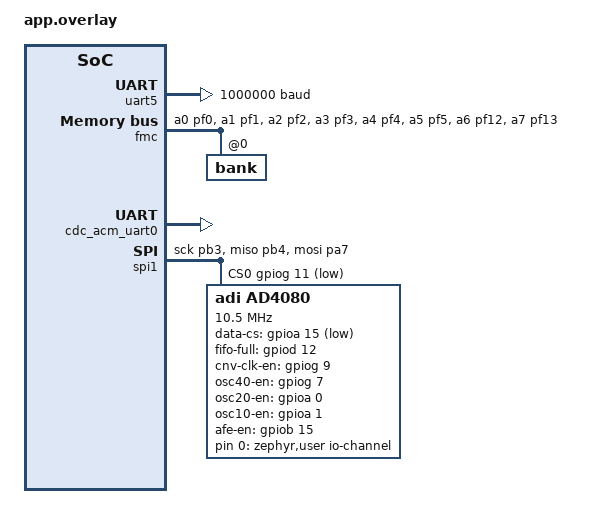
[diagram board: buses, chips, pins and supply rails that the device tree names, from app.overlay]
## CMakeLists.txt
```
cmake_minimum_required(VERSION 3.20.0)

list(APPEND ZEPHYR_EXTRA_MODULES ${CMAKE_CURRENT_LIST_DIR}/drivers/ad4080)

# Captured here: the macro runs later, from Zephyr's cmake directory.
set(AD4080_OPENOCD_RESUME ${CMAKE_CURRENT_LIST_DIR}/support/openocd-resume.tcl)

# The board OpenOCD file is the Nucleo one. Connect under reset so a core
# in WFI can be halted, keep the hex erase-program path, and turn the
# trailing "reset run" into resume. That "reset run" drops SWD on this
# ST-Link after the image is already written.
macro(app_set_runner_args)
  board_runner_args(openocd "--cmd-pre-init" "reset_config srst_only srst_nogate connect_assert_srst")
  # "reset" exists only after init.
  board_runner_args(openocd "--cmd-pre-load" "source ${AD4080_OPENOCD_RESUME}")
endmacro()

find_package(Zephyr REQUIRED HINTS $ENV{ZEPHYR_BASE})
project(ad4080_example)

target_sources(app PRIVATE src/main.c src/usbd.c)
```

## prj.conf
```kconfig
CONFIG_GPIO=y
CONFIG_SPI=y
CONFIG_SPI_STM32_DMA=y
CONFIG_DMA_LOG_LEVEL_ERR=y
CONFIG_ADC=y

CONFIG_SERIAL=y
CONFIG_CONSOLE=y
CONFIG_UART_CONSOLE=y
CONFIG_PRINTK=y

CONFIG_LOG=y
CONFIG_LOG_MODE_IMMEDIATE=y
CONFIG_ADC_LOG_LEVEL_INF=y

# Idle is WFI. Without this, STM32F4 drops the debug clock in sleep and
# OpenOCD cannot halt the core for the next flash.
CONFIG_STM32_ENABLE_DEBUG_SLEEP_STOP=y

CONFIG_MEMC=y
CONFIG_MEMC_LOG_LEVEL_ERR=y

CONFIG_USB_DEVICE_STACK_NEXT=y
CONFIG_UART_LINE_CTRL=y
CONFIG_USBD_LOG_LEVEL_ERR=y
CONFIG_UDC_DRIVER_LOG_LEVEL_ERR=y
CONFIG_USBD_CDC_ACM_LOG_LEVEL_ERR=y
```

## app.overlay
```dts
/*
 * EVAL-AD4080ARDZ on the SDP-K1 Arduino header.
 *
 * D13/D12/D11 are SPI1 SCK/MISO/MOSI. D8 is the configuration chip-select
 * and D10 is the data-interface chip-select. D0 selects the 10 MHz CNV
 * oscillator; D2 and D1 stay off. D4 enables the conversion clock, D3 is
 * GPIO3 (FIFO full), and D9 enables the analog front end.
 */

#include <zephyr/dt-bindings/adc/adc.h>
#include <zephyr/dt-bindings/dma/stm32_dma.h>
#include <zephyr/dt-bindings/memory-attr/memory-attr-arm.h>
#include <zephyr/dt-bindings/memory-controller/stm32-fmc-sdram.h>

/* UART5 is the DAPLink virtual COM port, used for the boot log only.
 * Samples leave through the USB CDC device. The controller asks for
 * high speed; this board enumerates at full speed.
 */
&uart5 {
	current-speed = <1000000>;
};

/*
 * MT48LC4M32B2, 16 MB, 32-bit, 8-bit column, 12-bit row, 4 banks.
 * SDCLK is HCLK/2 = 84 MHz. CAS latency 3 matches the Analog SDP-K1
 * init. PD12 stays GPIO (FIFO full); it is not driven as FMC_A17.
 * These pins do not overlap the AD4080 SPI, CNV, or ULPI sets.
 */
&fmc {
	pinctrl-0 = <&fmc_a0_pf0 &fmc_a1_pf1 &fmc_a2_pf2 &fmc_a3_pf3
		     &fmc_a4_pf4 &fmc_a5_pf5 &fmc_a6_pf12 &fmc_a7_pf13
		     &fmc_a8_pf14 &fmc_a9_pf15 &fmc_a10_pg0 &fmc_a11_pg1
		     &fmc_a12_pg2 &fmc_a13_pg3 &fmc_a14_pg4 &fmc_a15_pg5
		     &fmc_d0_pd14 &fmc_d1_pd15 &fmc_d2_pd0 &fmc_d3_pd1
		     &fmc_d4_pe7 &fmc_d5_pe8 &fmc_d6_pe9 &fmc_d7_pe10
		     &fmc_d8_pe11 &fmc_d9_pe12 &fmc_d10_pe13 &fmc_d11_pe14
		     &fmc_d12_pe15 &fmc_d13_pd8 &fmc_d14_pd9 &fmc_d15_pd10
		     &fmc_d16_ph8 &fmc_d17_ph9 &fmc_d18_ph10 &fmc_d19_ph11
		     &fmc_d20_ph12 &fmc_d21_ph13 &fmc_d22_ph14 &fmc_d23_ph15
		     &fmc_d24_pi0 &fmc_d25_pi1 &fmc_d26_pi2 &fmc_d27_pi3
		     &fmc_d28_pi6 &fmc_d29_pi7 &fmc_d30_pi9 &fmc_d31_pi10
		     &fmc_nbl0_pe0 &fmc_nbl1_pe1 &fmc_nbl2_pi4 &fmc_nbl3_pi5
		     &fmc_sdclk_pg8 &fmc_sdncas_pg15 &fmc_sdnras_pf11
		     &fmc_sdcke0_ph2 &fmc_sdne0_ph3 &fmc_sdnwe_ph5>;
	pinctrl-names = "default";
	status = "okay";

	sdram {
		status = "okay";
		/* 64 ms / 4096 rows * 84 MHz - 20. */
		power-up-delay = <100>;
		num-auto-refresh = <8>;
		mode-register = <0x230>;
		refresh-rate = <1292>;

		bank@0 {
			reg = <0>;
			st,sdram-control = <STM32_FMC_SDRAM_NC_8
					    STM32_FMC_SDRAM_NR_12
					    STM32_FMC_SDRAM_MWID_32
					    STM32_FMC_SDRAM_NB_4
					    STM32_FMC_SDRAM_CAS_3
					    STM32_FMC_SDRAM_SDCLK_PERIOD_2
					    STM32_FMC_SDRAM_RBURST_ENABLE
					    STM32_FMC_SDRAM_RPIPE_0>;
			st,sdram-timing = <2 7 4 7 2 2 2>;
		};
	};
};

/ {
	sdram1: sdram@c0000000 {
		compatible = "zephyr,memory-region", "mmio-sram";
		device_type = "memory";
		reg = <0xc0000000 DT_SIZE_M(16)>;
		zephyr,memory-region = "SDRAM1";
		zephyr,memory-attr = <DT_MEM_ARM_MPU_RAM>;
	};
};

&zephyr_udc0 {
	cdc_acm_uart0: cdc_acm_uart0 {
		compatible = "zephyr,cdc-acm-uart";
		label = "AD4080 capture";
		tx-fifo-size = <16384>;
		rx-fifo-size = <512>;
	};
};

/ {
	zephyr,user {
		io-channels = <&ad4080 0>;
	};
};

/* SPI1_TX is DMA2 stream 5 channel 3. SPI1_RX is stream 2 channel 3. */
&dma2 {
	status = "okay";
};

&spi1 {
	pinctrl-0 = <&spi1_sck_pb3 &spi1_miso_pb4 &spi1_mosi_pa7>;
	pinctrl-names = "default";
	dmas = <&dma2 5 3 STM32_DMA_PERIPH_TX STM32_DMA_FIFO_FULL>,
	       <&dma2 2 3 STM32_DMA_PERIPH_RX STM32_DMA_FIFO_FULL>;
	dma-names = "tx", "rx";
	cs-gpios = <&gpiog 11 GPIO_ACTIVE_LOW>;
	status = "okay";

	ad4080: ad4080@0 {
		compatible = "adi,ad4080";
		reg = <0>;
		/*
		 * Register port, APB2/8. The data port uses the same 10.5 MHz.
		 * 21 MHz and 42 MHz both sampled the data-port sign bit early.
		 */
		spi-max-frequency = <10500000>;
		spi-cpol;
		spi-cpha;

		data-cs-gpios = <&gpioa 15 GPIO_ACTIVE_LOW>;
		fifo-full-gpios = <&gpiod 12 GPIO_ACTIVE_HIGH>;
		cnv-clk-en-gpios = <&gpiog 9 GPIO_ACTIVE_HIGH>;
		osc40-en-gpios = <&gpiog 7 GPIO_ACTIVE_HIGH>;
		osc20-en-gpios = <&gpioa 0 GPIO_ACTIVE_HIGH>;
		osc10-en-gpios = <&gpioa 1 GPIO_ACTIVE_HIGH>;
		afe-en-gpios = <&gpiob 15 GPIO_ACTIVE_HIGH>;
		sampling-frequency-mhz = <10>;

		#io-channel-cells = <1>;
		#address-cells = <1>;
		#size-cells = <0>;

		channel@0 {
			reg = <0>;
			zephyr,gain = "ADC_GAIN_1";
			zephyr,reference = "ADC_REF_EXTERNAL0";
			zephyr,vref-mv = <3000>;
			zephyr,acquisition-time = <ADC_ACQ_TIME_DEFAULT>;
			zephyr,resolution = <20>;
			zephyr,differential;
		};
	};
};
```

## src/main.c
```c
/*
 * Copyright (c) 2026
 * SPDX-License-Identifier: Apache-2.0
 *
 * Fill the 16 MB SDRAM with AD4080 FIFO bursts, then send that buffer
 * on the USB CDC port. The converter has one 16384-sample FIFO and it
 * is single-port, so the CNV clock stops while SPI DMA clocks that
 * FIFO out. Samples inside one FIFO are gap-free at the CNV rate.
 * The link is mode 3 at 10.5 MHz. The USB controller asks for high
 * speed; this board enumerates at full speed.
 *
 * Request:  0xA5 0x5A, uint32 little-endian count
 *           count 0 asks for limits instead of samples
 * Response: 0x5A 0xA5, uint32 count, int16 status, then the payload
 *           samples are count signed 24-bit little-endian codes
 *           a count-0 reply carries three int32 values:
 *           FIFO depth, samples that fit in SDRAM, sample rate
 */

#include <errno.h>
#include <stdint.h>

#include <zephyr/device.h>
#include <zephyr/drivers/adc.h>
#include <zephyr/drivers/uart.h>
#include <zephyr/kernel.h>
#include <zephyr/sys/atomic.h>
#include <zephyr/sys/printk.h>

#define FIFO_SAMPLES 16384
#define SAMPLE_HZ (DT_PROP(DT_NODELABEL(ad4080), sampling_frequency_mhz) * 1000000)
#define SDRAM_ADDR DT_REG_ADDR(DT_NODELABEL(sdram1))
#define SDRAM_BYTES DT_REG_SIZE(DT_NODELABEL(sdram1))
#define RAM_SAMPLES (SDRAM_BYTES / 3)

#define RX_RING 128

const struct device *usb_serial_start(void);

static const struct device *usb;
static const struct adc_dt_spec adc_channel = ADC_DT_SPEC_GET(DT_PATH(zephyr_user));
static int32_t samples[FIFO_SAMPLES];

static struct adc_sequence_options options;
static struct adc_sequence sequence = {
	.buffer = samples,
	.options = &options,
};

static uint8_t rx_ring[RX_RING];
static unsigned int rx_w;
static unsigned int rx_r;

static const uint8_t *tx_data;
static size_t tx_len;
static size_t tx_off;
static atomic_t tx_active;
static K_SEM_DEFINE(tx_done, 0, 1);

static void rx_put(const uint8_t *data, int len)
{
	unsigned int key = irq_lock();

	for (int i = 0; i < len; i++) {
		unsigned int next = (rx_w + 1U) % RX_RING;

		if (next == rx_r) {
			break;
		}
		rx_ring[rx_w] = data[i];
		rx_w = next;
	}
	irq_unlock(key);
}

static int rx_get(uint8_t *byte)
{
	unsigned int key = irq_lock();

	if (rx_r == rx_w) {
		irq_unlock(key);
		return -1;
	}
	*byte = rx_ring[rx_r];
	rx_r = (rx_r + 1U) % RX_RING;
	irq_unlock(key);
	return 0;
}

static void usb_uart_cb(const struct device *dev, void *user_data)
{
	uint8_t tmp[64];

	ARG_UNUSED(user_data);
	uart_irq_update(dev);

	while (uart_irq_rx_ready(dev) > 0) {
		int n = uart_fifo_read(dev, tmp, sizeof(tmp));

		if (n <= 0) {
			break;
		}
		rx_put(tmp, n);
	}

	if (!atomic_get(&tx_active)) {
		return;
	}

	while (uart_irq_tx_ready(dev) > 0) {
		size_t left = tx_len - tx_off;
		int n;

		if (left == 0) {
			uart_irq_tx_disable(dev);
			if (atomic_cas(&tx_active, 1, 0)) {
				k_sem_give(&tx_done);
			}
			return;
		}

		n = uart_fifo_fill(dev, &tx_data[tx_off], left);
		if (n <= 0) {
			break;
		}
		tx_off += n;
	}
}

static bool host_is_open(void)
{
	uint32_t dtr = 0;

	if (uart_line_ctrl_get(usb, UART_LINE_CTRL_DTR, &dtr) != 0) {
		return true;
	}
	return dtr != 0;
}

static void stop_tx(void)
{
	if (atomic_cas(&tx_active, 1, 0)) {
		uart_irq_tx_disable(usb);
	}
}

static int send_bytes(const uint8_t *data, size_t len)
{
	int64_t deadline;

	if (len == 0) {
		return 0;
	}

	tx_data = data;
	tx_off = 0;
	tx_len = len;
	atomic_set(&tx_active, 1);
	k_sem_reset(&tx_done);
	uart_irq_tx_enable(usb);

	deadline = k_uptime_get() + 120000;
	while (k_sem_take(&tx_done, K_MSEC(100)) != 0) {
		if (!host_is_open()) {
			stop_tx();
			return -ECONNABORTED;
		}
		if (k_uptime_get() >= deadline) {
			stop_tx();
			return -ETIMEDOUT;
		}
	}
	return 0;
}

static int send_frame(uint32_t count, int16_t status, const uint8_t *payload, size_t payload_len)
{
	uint8_t hdr[8];
	int err;

	hdr[0] = 0x5a;
	hdr[1] = 0xa5;
	hdr[2] = count;
	hdr[3] = count >> 8;
	hdr[4] = count >> 16;
	hdr[5] = count >> 24;
	hdr[6] = (uint16_t)status;
	hdr[7] = (uint16_t)status >> 8;

	err = send_bytes(hdr, sizeof(hdr));
	if (err || payload == NULL || payload_len == 0) {
		return err;
	}
	return send_bytes(payload, payload_len);
}

static void put_i32(uint8_t *dst, int32_t value)
{
	dst[0] = value;
	dst[1] = value >> 8;
	dst[2] = value >> 16;
	dst[3] = value >> 24;
}

static int sdram_test(void)
{
	volatile uint32_t *mem = (volatile uint32_t *)SDRAM_ADDR;
	uint32_t words = SDRAM_BYTES / sizeof(uint32_t);
	uint32_t last = words - 1U;

	for (uint32_t i = 0; i < words; i += 1024U) {
		mem[i] = 0x40800000U ^ i;
	}
	mem[last] = 0x5a5a5a5aU;

	for (uint32_t i = 0; i < words; i += 1024U) {
		if (mem[i] != (0x40800000U ^ i)) {
			return -EIO;
		}
	}
	if (mem[last] != 0x5a5a5a5aU) {
		return -EIO;
	}
	return 0;
}

/* One adc_read() is one FIFO. Pack those int32 codes as 24-bit little-endian. */
static int capture_samples(uint32_t count)
{
	uint8_t *dst = (uint8_t *)SDRAM_ADDR;

	for (uint32_t done = 0; done < count;) {
		uint32_t n = count - done;
		int err;

		if (!host_is_open()) {
			return -ECONNABORTED;
		}
		if (n > FIFO_SAMPLES) {
			n = FIFO_SAMPLES;
		}

		options.interval_us = 0;
		options.extra_samplings = n - 1U;
		sequence.buffer_size = n * sizeof(samples[0]);

		err = adc_read_dt(&adc_channel, &sequence);
		if (err) {
			return err;
		}

		for (uint32_t i = 0; i < n; i++) {
			int32_t code = samples[i];

			*dst++ = code;
			*dst++ = code >> 8;
			*dst++ = code >> 16;
		}
		done += n;
	}

	return 0;
}

static int take_request(uint32_t *count)
{
	static uint8_t state;
	static uint32_t value;
	uint8_t byte;

	while (rx_get(&byte) == 0) {
		switch (state) {
		case 0:
			state = byte == 0xa5 ? 1 : 0;
			break;
		case 1:
			if (byte == 0x5a) {
				value = 0;
				state = 2;
			} else {
				state = byte == 0xa5 ? 1 : 0;
			}
			break;
		case 2:
		case 3:
		case 4:
			value |= (uint32_t)byte << ((state - 2) * 8);
			state++;
			break;
		case 5:
			*count = value | ((uint32_t)byte << 24);
			state = 0;
			return 1;
		default:
			state = 0;
			break;
		}
	}

	return 0;
}

static void handle_request(uint32_t count)
{
	uint8_t info[12];
	int err;

	if (count == 0) {
		put_i32(&info[0], FIFO_SAMPLES);
		put_i32(&info[4], RAM_SAMPLES);
		put_i32(&info[8], SAMPLE_HZ);
		send_frame(3, 0, info, sizeof(info));
		return;
	}

	if (count > RAM_SAMPLES) {
		send_frame(0, -EINVAL, NULL, 0);
		return;
	}

	err = capture_samples(count);
	if (err == -ECONNABORTED) {
		return;
	}
	if (err) {
		send_frame(0, (int16_t)err, NULL, 0);
		return;
	}

	send_frame(count, 0, (const uint8_t *)SDRAM_ADDR, count * 3U);
}

static int wait_for_host(void)
{
	uint32_t dtr = 0;

	printk("AD4080 USB waiting for the host\n");
	while (dtr == 0) {
		if (uart_line_ctrl_get(usb, UART_LINE_CTRL_DTR, &dtr) != 0) {
			return -ENOTSUP;
		}
		k_msleep(50);
	}
	return 0;
}

int main(void)
{
	const struct device *sdram = DEVICE_DT_GET(DT_NODELABEL(sdram));
	uint32_t request;
	int err;

	if (!device_is_ready(sdram)) {
		printk("SDRAM is not ready\n");
		return 0;
	}

	err = sdram_test();
	if (err) {
		printk("SDRAM test failed: %d\n", err);
		return 0;
	}

	if (!adc_is_ready_dt(&adc_channel)) {
		printk("AD4080 ADC device is not ready\n");
		return 0;
	}

	err = adc_channel_setup_dt(&adc_channel);
	if (err) {
		printk("ADC channel setup failed: %d\n", err);
		return 0;
	}

	err = adc_sequence_init_dt(&adc_channel, &sequence);
	if (err) {
		printk("ADC sequence init failed: %d\n", err);
		return 0;
	}

	usb = usb_serial_start();
	if (usb == NULL) {
		printk("USB device start failed\n");
		return 0;
	}

	uart_irq_callback_set(usb, usb_uart_cb);
	uart_irq_rx_enable(usb);

	printk("AD4080 ready, FIFO %u, SDRAM %u samples at %u Hz\n", FIFO_SAMPLES, RAM_SAMPLES,
	       SAMPLE_HZ);

	err = wait_for_host();
	if (err) {
		printk("USB host detect failed: %d\n", err);
		return 0;
	}

	while (1) {
		if (take_request(&request)) {
			handle_request(request);
		} else {
			k_yield();
		}
	}

	return 0;
}
```

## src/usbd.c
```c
/*
 * Copyright (c) 2026
 * SPDX-License-Identifier: Apache-2.0
 *
 * USB CDC ACM on the SDP-K1 ULPI port. The controller is configured
 * for high speed. On this board the link enumerates at full speed.
 * The hub on the USB-C connector keeps DAPLink on its other downstream
 * port, so the console UART stays up while this device enumerates.
 */

#include <zephyr/device.h>
#include <zephyr/drivers/gpio.h>
#include <zephyr/drivers/uart.h>
#include <zephyr/kernel.h>
#include <zephyr/logging/log.h>
#include <zephyr/usb/usb_ch9.h>
#include <zephyr/usb/usbd.h>

LOG_MODULE_REGISTER(ad4080_usb, LOG_LEVEL_ERR);

/* pid.codes vendor ID, product chosen for this eval firmware. */
#define AD4080_USB_VID 0x1209
#define AD4080_USB_PID 0x4080

USBD_DEVICE_DEFINE(ad4080_usbd, DEVICE_DT_GET(DT_NODELABEL(zephyr_udc0)), AD4080_USB_VID,
		   AD4080_USB_PID);

USBD_DESC_LANG_DEFINE(usb_lang);
USBD_DESC_MANUFACTURER_DEFINE(usb_mfr, "AD4080 eval");
USBD_DESC_PRODUCT_DEFINE(usb_product, "AD4080 capture");
USBD_DESC_CONFIG_DEFINE(fs_cfg_desc, "FS");
USBD_DESC_CONFIG_DEFINE(hs_cfg_desc, "HS");

/* Bus-powered, 500 mA. The analog front end still needs the 12 V adapter. */
USBD_CONFIGURATION_DEFINE(fs_config, 0, 250, &fs_cfg_desc);
USBD_CONFIGURATION_DEFINE(hs_config, 0, 250, &hs_cfg_desc);

static const char *const blocklist[] = {NULL};

static int add_config(enum usbd_speed speed, struct usbd_config_node *config)
{
	int err;

	err = usbd_add_configuration(&ad4080_usbd, speed, config);
	if (err) {
		LOG_ERR("USB configuration failed (%d)", err);
		return err;
	}

	err = usbd_register_all_classes(&ad4080_usbd, speed, 1, blocklist);
	if (err) {
		LOG_ERR("USB class register failed (%d)", err);
		return err;
	}

	/* CDC ACM has an interface association descriptor. */
	return usbd_device_set_code_triple(&ad4080_usbd, speed, USB_BCC_MISCELLANEOUS, 0x02, 0x01);
}

const struct device *usb_serial_start(void)
{
	const struct device *cdc = DEVICE_DT_GET(DT_NODELABEL(cdc_acm_uart0));
	int err;

	if (!device_is_ready(cdc)) {
		LOG_ERR("USB CDC device is not ready");
		return NULL;
	}

	err = usbd_add_descriptor(&ad4080_usbd, &usb_lang);
	if (err) {
		return NULL;
	}
	err = usbd_add_descriptor(&ad4080_usbd, &usb_mfr);
	if (err) {
		return NULL;
	}
	err = usbd_add_descriptor(&ad4080_usbd, &usb_product);
	if (err) {
		return NULL;
	}

	if (USBD_SUPPORTS_HIGH_SPEED && usbd_caps_speed(&ad4080_usbd) == USBD_SPEED_HS) {
		err = add_config(USBD_SPEED_HS, &hs_config);
		if (err) {
			return NULL;
		}
	}

	err = add_config(USBD_SPEED_FS, &fs_config);
	if (err) {
		return NULL;
	}

	usbd_self_powered(&ad4080_usbd, false);

	/*
	 * The USB3343 locks its PLL from the 26 MHz clock. Release reset
	 * and let that settle before the OTG core starts high-speed chirp.
	 */
	{
		const struct gpio_dt_spec reset =
			GPIO_DT_SPEC_GET(DT_NODELABEL(otghs_ulpi_phy), reset_gpios);

		if (gpio_is_ready_dt(&reset)) {
			gpio_pin_configure_dt(&reset, GPIO_OUTPUT_ACTIVE);
			k_msleep(5);
			gpio_pin_configure_dt(&reset, GPIO_OUTPUT_INACTIVE);
			k_msleep(10);
		}
	}

	err = usbd_init(&ad4080_usbd);
	if (err) {
		LOG_ERR("USB init failed (%d)", err);
		return NULL;
	}

	if (!usbd_can_detect_vbus(&ad4080_usbd)) {
		err = usbd_enable(&ad4080_usbd);
		if (err) {
			LOG_ERR("USB enable failed (%d)", err);
			return NULL;
		}
	}

	return cdc;
}
```
